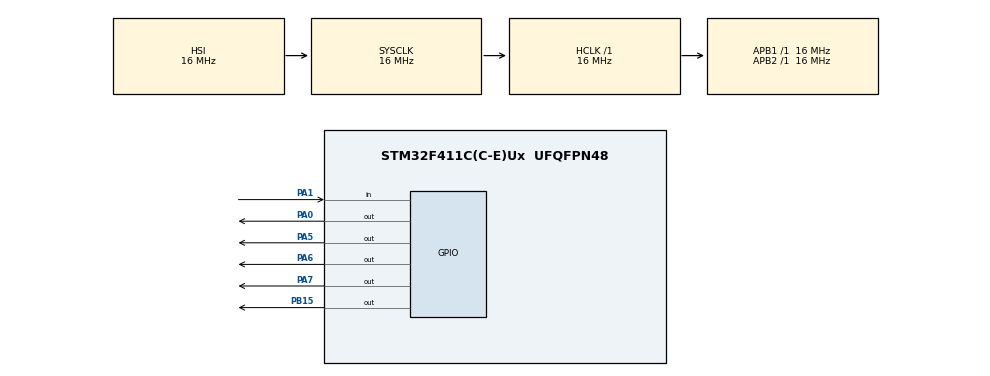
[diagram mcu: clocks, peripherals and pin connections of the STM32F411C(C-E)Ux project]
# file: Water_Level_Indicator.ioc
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Mcu.Family=STM32F4
Mcu.Name=STM32F411C(C-E)Ux
Mcu.Package=UFQFPN48
NVIC.PriorityGroup=NVIC_PRIORITYGROUP_4
PA0-WKUP.Signal=GPIO_Output
PA1.Signal=GPIO_Input
PA5.Signal=GPIO_Output
PA6.Signal=GPIO_Output
PA7.Signal=GPIO_Output
PB15.Signal=GPIO_Output
ProjectManager.HeapSize=0x200
ProjectManager.StackSize=0x400
ProjectManager.TargetToolchain=STM32CubeIDE
RCC.AHBFreq_Value=16000000
RCC.APB1Freq_Value=16000000
RCC.APB2Freq_Value=16000000
RCC.CortexFreq_Value=16000000
RCC.HSE_VALUE=25000000
RCC.HSI_VALUE=16000000
RCC.LSE_VALUE=32768
RCC.SYSCLKFreq_VALUE=16000000
RCC.VCOOutputFreq_Value=192000000
TIM2.Prescaler=15
VP_TIM2_VS_ClockSourceINT.Mode=Internal
board=custom

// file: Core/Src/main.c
/* USER CODE BEGIN Header */
/**
  ******************************************************************************
  * @file           : main.c
  * @brief          : Main program body
  ******************************************************************************
  * @attention
  *
  * Copyright (c) 2026 STMicroelectronics.
  * All rights reserved.
  *
  * This software is licensed under terms that can be found in the LICENSE file
  * in the root directory of this software component.
  * If no LICENSE file comes with this software, it is provided AS-IS.
  *
  ******************************************************************************
  */
/* USER CODE END Header */
#include "main.h"

TIM_HandleTypeDef htim2;

void SystemClock_Config(void);
static void MX_GPIO_Init(void);
static void MX_TIM2_Init(void);

/* USER CODE BEGIN 0 */

/* USER CODE BEGIN 0 */

#define TRIG_PIN    GPIO_PIN_0
#define ECHO_PIN    GPIO_PIN_1

#define GREEN_PIN   GPIO_PIN_5
#define YELLOW_PIN  GPIO_PIN_6
#define RED_PIN     GPIO_PIN_7
#define BUZZER_PIN  GPIO_PIN_15

#define ECHO_TIMEOUT_US 30000U

// Generate microsecond delay using TIM2
void delay_us(uint32_t us)
{
    uint32_t start = __HAL_TIM_GET_COUNTER(&htim2);

    while ((uint32_t)(__HAL_TIM_GET_COUNTER(&htim2) - start) < us)
    {
    }
}

// Wait for the echo pin to reach a specified state
uint8_t waitForEcho(GPIO_PinState state)
{
    __HAL_TIM_SET_COUNTER(&htim2, 0);

    while (HAL_GPIO_ReadPin(GPIOA, ECHO_PIN) != state)
    {
        if (__HAL_TIM_GET_COUNTER(&htim2) >= ECHO_TIMEOUT_US)
        {
            return 0;
        }
    }

    return 1;
}

// Measure distance using HC-SR04
float readDistance(void)
{
    uint32_t duration;

    HAL_GPIO_WritePin(GPIOA, TRIG_PIN, GPIO_PIN_RESET);
    delay_us(2);

    HAL_GPIO_WritePin(GPIOA, TRIG_PIN, GPIO_PIN_SET);
    delay_us(10);

    HAL_GPIO_WritePin(GPIOA, TRIG_PIN, GPIO_PIN_RESET);

    // Wait for ECHO to become HIGH
    if (!waitForEcho(GPIO_PIN_SET))
    {
        return -1.0f;
    }

    // Measure ECHO HIGH duration
    __HAL_TIM_SET_COUNTER(&htim2, 0);

    while (HAL_GPIO_ReadPin(GPIOA, ECHO_PIN) == GPIO_PIN_SET)
    {
        if (__HAL_TIM_GET_COUNTER(&htim2) >= ECHO_TIMEOUT_US)
        {
            return -1.0f;
        }
    }

    duration = __HAL_TIM_GET_COUNTER(&htim2);

    return (duration * 0.0343f) / 2.0f;
}

// Turn off all indicators
void outputsOff(void)
{
    HAL_GPIO_WritePin(GPIOA,
        GREEN_PIN | YELLOW_PIN | RED_PIN,
        GPIO_PIN_RESET);

    HAL_GPIO_WritePin(GPIOB,
        BUZZER_PIN,
        GPIO_PIN_RESET);
}

/* USER CODE END 0 */

/* USER CODE END 0 */

int main(void)
{

  /* MCU Configuration--------------------------------------------------------*/

  /* Reset of all peripherals, Initializes the Flash interface and the Systick. */
  HAL_Init();

  /* Configure the system clock */
  SystemClock_Config();

  /* Initialize all configured peripherals */
  MX_GPIO_Init();
  MX_TIM2_Init();
  /* USER CODE BEGIN 2 */

  if (HAL_TIM_Base_Start(&htim2) != HAL_OK)
  {
      Error_Handler();
  }

  outputsOff();

  /* USER CODE END 2 */

  /* USER CODE BEGIN WHILE */

  while (1)
  {

	      float distance = readDistance();

	      outputsOff();

	      if (distance < 0.0f)
	      {
	          // NO ECHO DETECTED
	          HAL_GPIO_WritePin(GPIOB, BUZZER_PIN, GPIO_PIN_SET);
	      }
	      else if (distance > 35.0f)
	      {
	          // LOW WATER
	          HAL_GPIO_WritePin(GPIOA, RED_PIN, GPIO_PIN_SET);
	          HAL_GPIO_WritePin(GPIOB, BUZZER_PIN, GPIO_PIN_SET);
	      }
	      else if (distance > 15.0f)
	      {
	          // MEDIUM WATER
	          HAL_GPIO_WritePin(GPIOA, YELLOW_PIN, GPIO_PIN_SET);
	      }
	      else if (distance > 1.0f)
	      {
	          // HIGH WATER
	          HAL_GPIO_WritePin(GPIOA, GREEN_PIN, GPIO_PIN_SET);
	      }
	      else
	      {
	          // TANK FULL
	          HAL_GPIO_WritePin(GPIOA,
	              GREEN_PIN | YELLOW_PIN | RED_PIN,
	              GPIO_PIN_SET);

	          HAL_GPIO_WritePin(GPIOB, BUZZER_PIN, GPIO_PIN_SET);
	      }

	      HAL_Delay(500);
	  }

  /* USER CODE END WHILE */
}

void SystemClock_Config(void)
{
  RCC_OscInitTypeDef RCC_OscInitStruct = {0};
  RCC_ClkInitTypeDef RCC_ClkInitStruct = {0};

  /** Configure the main internal regulator output voltage
  */
  __HAL_RCC_PWR_CLK_ENABLE();
  __HAL_PWR_VOLTAGESCALING_CONFIG(PWR_REGULATOR_VOLTAGE_SCALE1);

  /** Initializes the RCC Oscillators according to the specified parameters
  * in the RCC_OscInitTypeDef structure.
  */
  RCC_OscInitStruct.OscillatorType = RCC_OSCILLATORTYPE_HSI;
  RCC_OscInitStruct.HSIState = RCC_HSI_ON;
  RCC_OscInitStruct.HSICalibrationValue = RCC_HSICALIBRATION_DEFAULT;
  RCC_OscInitStruct.PLL.PLLState = RCC_PLL_NONE;
  if (HAL_RCC_OscConfig(&RCC_OscInitStruct) != HAL_OK)
  {
    Error_Handler();
  }

  /** Initializes the CPU, AHB and APB buses clocks
  */
  RCC_ClkInitStruct.ClockType = RCC_CLOCKTYPE_HCLK|RCC_CLOCKTYPE_SYSCLK
                              |RCC_CLOCKTYPE_PCLK1|RCC_CLOCKTYPE_PCLK2;
  RCC_ClkInitStruct.SYSCLKSource = RCC_SYSCLKSOURCE_HSI;
  RCC_ClkInitStruct.AHBCLKDivider = RCC_SYSCLK_DIV1;
  RCC_ClkInitStruct.APB1CLKDivider = RCC_HCLK_DIV1;
  RCC_ClkInitStruct.APB2CLKDivider = RCC_HCLK_DIV1;

  if (HAL_RCC_ClockConfig(&RCC_ClkInitStruct, FLASH_LATENCY_0) != HAL_OK)
  {
    Error_Handler();
  }
}

static void MX_TIM2_Init(void)
{

  TIM_ClockConfigTypeDef sClockSourceConfig = {0};
  TIM_MasterConfigTypeDef sMasterConfig = {0};

  htim2.Instance = TIM2;
  htim2.Init.Prescaler = 15;
  htim2.Init.CounterMode = TIM_COUNTERMODE_UP;
  htim2.Init.Period = 4294967295;
  htim2.Init.ClockDivision = TIM_CLOCKDIVISION_DIV1;
  htim2.Init.AutoReloadPreload = TIM_AUTORELOAD_PRELOAD_DISABLE;
  if (HAL_TIM_Base_Init(&htim2) != HAL_OK)
  {
    Error_Handler();
  }
  sClockSourceConfig.ClockSource = TIM_CLOCKSOURCE_INTERNAL;
  if (HAL_TIM_ConfigClockSource(&htim2, &sClockSourceConfig) != HAL_OK)
  {
    Error_Handler();
  }
  sMasterConfig.MasterOutputTrigger = TIM_TRGO_RESET;
  sMasterConfig.MasterSlaveMode = TIM_MASTERSLAVEMODE_DISABLE;
  if (HAL_TIMEx_MasterConfigSynchronization(&htim2, &sMasterConfig) != HAL_OK)
  {
    Error_Handler();
  }

}

static void MX_GPIO_Init(void)
{
  GPIO_InitTypeDef GPIO_InitStruct = {0};

  /* GPIO Ports Clock Enable */
  __HAL_RCC_GPIOA_CLK_ENABLE();
  __HAL_RCC_GPIOB_CLK_ENABLE();

  /*Configure GPIO pin Output Level */
  HAL_GPIO_WritePin(GPIOA, GPIO_PIN_0|GPIO_PIN_5|GPIO_PIN_6|GPIO_PIN_7, GPIO_PIN_RESET);

  /*Configure GPIO pin Output Level */
  HAL_GPIO_WritePin(GPIOB, GPIO_PIN_15, GPIO_PIN_RESET);

  /*Configure GPIO pins : PA0 PA5 PA6 PA7 */
  GPIO_InitStruct.Pin = GPIO_PIN_0|GPIO_PIN_5|GPIO_PIN_6|GPIO_PIN_7;
  GPIO_InitStruct.Mode = GPIO_MODE_OUTPUT_PP;
  GPIO_InitStruct.Pull = GPIO_NOPULL;
  GPIO_InitStruct.Speed = GPIO_SPEED_FREQ_LOW;
  HAL_GPIO_Init(GPIOA, &GPIO_InitStruct);

  /*Configure GPIO pin : PA1 */
  GPIO_InitStruct.Pin = GPIO_PIN_1;
  GPIO_InitStruct.Mode = GPIO_MODE_INPUT;
  GPIO_InitStruct.Pull = GPIO_NOPULL;
  HAL_GPIO_Init(GPIOA, &GPIO_InitStruct);

  /*Configure GPIO pin : PB15 */
  GPIO_InitStruct.Pin = GPIO_PIN_15;
  GPIO_InitStruct.Mode = GPIO_MODE_OUTPUT_PP;
  GPIO_InitStruct.Pull = GPIO_NOPULL;
  GPIO_InitStruct.Speed = GPIO_SPEED_FREQ_LOW;
  HAL_GPIO_Init(GPIOB, &GPIO_InitStruct);

}

void Error_Handler(void)
{
  __disable_irq();
  while (1)
  {
  }
}
